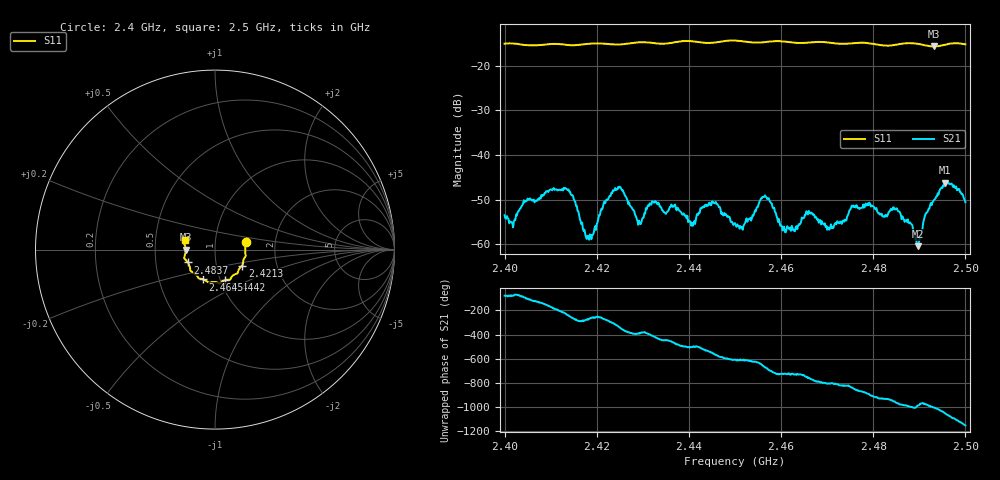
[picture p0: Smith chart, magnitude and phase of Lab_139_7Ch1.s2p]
# Hz S RI R 50
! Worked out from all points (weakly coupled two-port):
!   601 points, 2.4 GHz to 2.5 GHz, reference 50 ohm
!   highest |S21| = -46.17 dB at 2.4955 GHz (marker M1); lowest = -60.4 dB at 2.4897 GHz (marker M2)
!   lowest |S11| = -15.7 dB at 2.4932 GHz (marker M3), VSWR 1.39, Z = 36 - j0.0456 ohm
!   |S11| at or under -10 dB: start of sweep to end of sweep
!   S12 and S22 are empty: the file has one direction only
!   S11 on the Smith chart (normalised r, x): 2.4 GHz: 1.41, +0.12; 2.4213 GHz: 1.33, -0.25; 2.4442 GHz: 1.05, -0.37; 2.4645 GHz: 0.83, -0.29; 2.4837 GHz: 0.73, -0.11; 2.5 GHz: 0.71, +0.07
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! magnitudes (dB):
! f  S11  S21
! 2.4 GHz  -15.1  -53.5
! 2.4133 GHz  -15.4  -47.5
! 2.4167 GHz  -15.3  -55.5
! 2.4188 GHz  -15.1  -58.8
! 2.4213 GHz  -15.1  -51.6
! 2.4248 GHz  -15.3  -47.3
! 2.4292 GHz  -14.8  -54.7
! 2.4333 GHz  -15.1  -50.7
! 2.4408 GHz  -14.6  -55.8
! 2.4442 GHz  -15.0  -51.3
! 2.45 GHz  -14.4  -55.2
! 2.4563 GHz  -14.8  -49.4
! 2.4607 GHz  -14.6  -56.0
! 2.4645 GHz  -15.0  -54.0
! 2.4667 GHz  -14.8  -53.1
! 2.4702 GHz  -14.8  -56.2
! 2.4833 GHz  -15.6  -52.8
! 2.4837 GHz  -15.5  -52.4
! 2.4897 GHz  -15.1  -60.4
! 2.4932 GHz  -15.7  -50.1
! 2.4955 GHz  -15.4  -46.2
! 2.5 GHz  -15.2  -50.5
